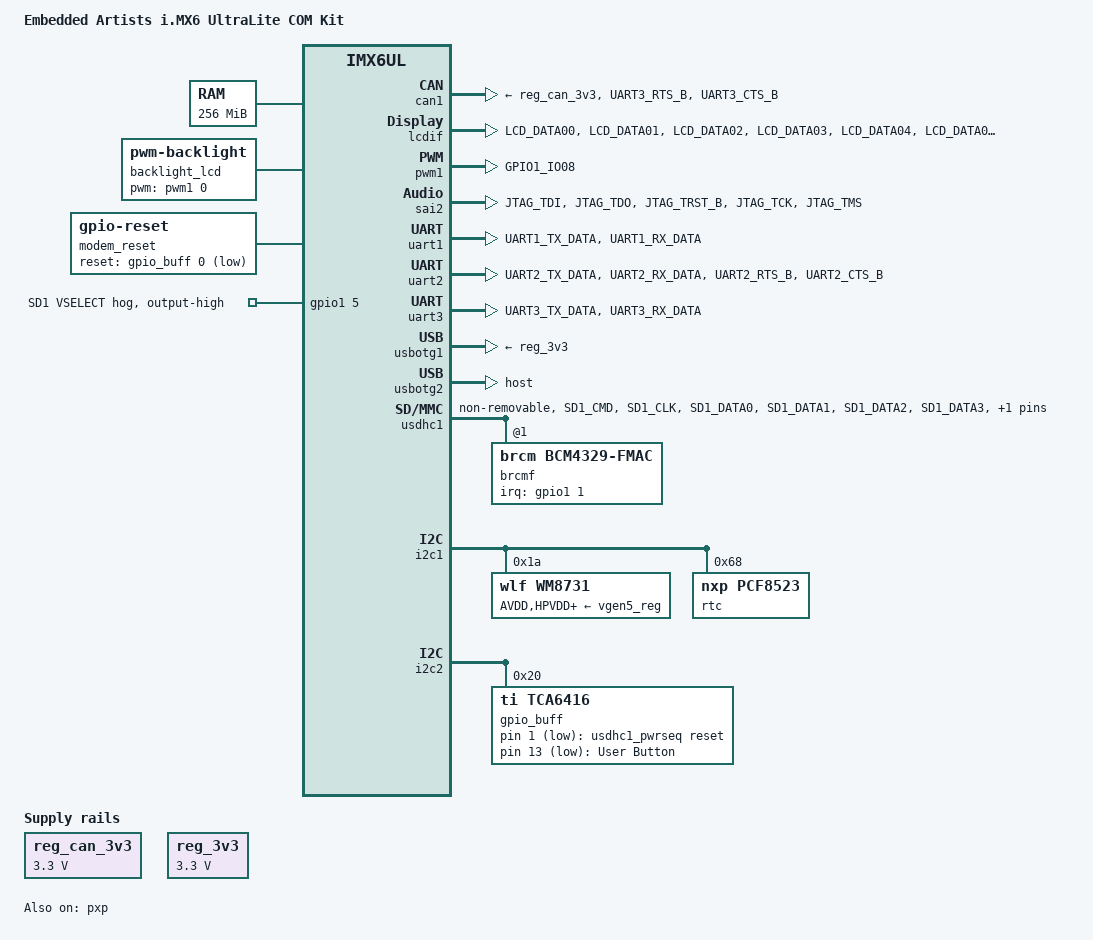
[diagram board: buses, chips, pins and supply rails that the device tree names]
/*
 * Copyright (C) 2015 Freescale Semiconductor, Inc.
 *
 * This program is free software; you can redistribute it and/or modify
 * it under the terms of the GNU General Public License version 2 as
 * published by the Free Software Foundation.
 */
 
/dts-v1/;

#include "imx6ulea-com.dtsi"

/ {
	model = "Embedded Artists i.MX6 UltraLite COM Kit";
	compatible = "fsl,imx6ulea-com", "fsl,imx6ul";

	/* Aliases to allow u-boot to modify the device tree */
	aliases {
		fb_rgb = &lcdif;
		t_rgb = &t_lcd;
		bl_rgb = &backlight_lcd;
		rgb = &display0;
		ts_con_rgb = &i2c1;
	};

	chosen {
		stdout-path = &uart1;
	};

	memory {
		reg = <0x80000000 0x10000000>;
	};

	reserved-memory {
		#address-cells = <1>;
		#size-cells = <1>;
		ranges;

		linux,cma {
			compatible = "shared-dma-pool";
			reusable;
			size = <0xa000000>;
			linux,cma-default;
		};
	};

	backlight_lcd: backlight {
		compatible = "pwm-backlight";
		pwms = <&pwm1 0 5000000>;
		brightness-levels = <0 4 8 16 32 64 128 255>;
		default-brightness-level = <6>;
		status = "okay";
	};

	pxp_v4l2 {
		compatible = "fsl,imx6ul-pxp-v4l2", "fsl,imx6sx-pxp-v4l2", "fsl,imx6sl-pxp-v4l2";
		status = "okay";
	};

	modem_reset: modem-reset {		/* Murata -- BT_REG_ON */
		compatible = "gpio-reset";
		reset-gpios = <&gpio_buff 0 GPIO_ACTIVE_LOW>;
		reset-delay-us = <1000>;
		initially-in-reset; 
		#reset-cells = <0>;
	};

	sii902x_reset: sii902x-reset {
		compatible = "gpio-reset";
		reset-gpios = <&gpio4 16 GPIO_ACTIVE_LOW>;
		reset-delay-us = <10000>;
		initially-in-reset;
		#reset-cells = <0>;
		status = "disabled";
	};

	regulators {
		compatible = "simple-bus";
		#address-cells = <1>;
		#size-cells = <0>;

		reg_can_3v3: regulator@0 {
			compatible = "regulator-fixed";
			reg = <0>;
			regulator-name = "can-3v3";
			regulator-min-microvolt = <3300000>;
			regulator-max-microvolt = <3300000>;
		};

		reg_3v3: regulator@2 {
			compatible = "regulator-fixed";
			reg = <2>;
			regulator-name = "reg-3v3";
			regulator-min-microvolt = <3300000>;
			regulator-max-microvolt = <3300000>;
		};

		usdhc1_pwrseq: usdhc1_pwrseq {			/* add construct for "fmac" to control WL_REG_ON signal */
			compatible = "mmc-pwrseq-simple";
			reset-gpios = <&gpio_buff 1 GPIO_ACTIVE_LOW>; /* WL REG ON */
			post-power-on-delay-ms = <120>;
			status = "okay";
		};
	};

	sound-wm8731 {
		compatible = "simple-audio-card";
		simple-audio-card,name = "wm8731-audio";
		simple-audio-card,format = "i2s";
		simple-audio-card,frame-master = <&cpudai>;
		simple-audio-card,bitclock-master = <&cpudai>;
		simple-audio-card,widgets =
			"Line", "Left Line Out Jack",
			"Line", "Right Line Out Jack";
		simple-audio-card,routing =
			"Left Line Out Jack", "LOUT",
			"Right Line Out Jack", "ROUT";

		cpudai: simple-audio-card,cpu {
			sound-dai = <&sai2>;
		};

		dailink_master: simple-audio-card,codec {
			sound-dai = <&wm8731>;
			clocks = <&clks IMX6UL_CLK_SAI2>;
		};
	};


	gpio-keys {
		compatible = "gpio-keys";

		user_btn {
			label = "User Button";
			gpios = <&gpio_buff 13 GPIO_ACTIVE_LOW>;
			linux,code = <103>; /* 103 = numpad 7 */
		};
	};
};

&clks {
	assigned-clocks = <&clks IMX6UL_CLK_PLL4_AUDIO_DIV>;
	assigned-clock-rates = <860160000>;
};

&can1 {
	pinctrl-names = "default";
	pinctrl-0 = <&pinctrl_flexcan1>;
	xceiver-supply = <&reg_can_3v3>;
	status = "okay";
};

/* FlexCAN2 shares pins with UART2 (BT) so it is disabled */
&can2 {
	pinctrl-names = "default";
	pinctrl-0 = <&pinctrl_flexcan2>;
	xceiver-supply = <&reg_can_3v3>;
	status = "disabled";
};

&lcdif {
	pinctrl-names = "default";
	pinctrl-0 = <&pinctrl_lcdif_dat
		     &pinctrl_lcdif_ctrl>;
	display = <&display0>;
	status = "okay";

	display0: display {
		bits-per-pixel = <32>;
		bus-width = <24>;

		/* EA 7" display */
		display-timings {
			native-mode = <&t_lcd>;
			t_lcd: t_lcd_default {
				/* values may be changed in bootscript */
				clock-frequency = <33336667>;
				hactive = <1280>;
				vactive = <720>;
				hback-porch = <89>;
				hfront-porch = <164>;
				vback-porch = <75>;
				vfront-porch = <75>;
				hsync-len = <10>;
				vsync-len = <10>;
				hsync-active = <0>;
				vsync-active = <0>;
				de-active = <1>;
				pixelclk-active = <0>;
			};
		};
	};
};

&pwm1 {
	#pwm-cells = <2>;
	pinctrl-names = "default";
	pinctrl-0 = <&pinctrl_pwm1>;
	status = "okay";
};

&pxp {
	status = "okay";
};

&sai2 {
	#sound-dai-cells = <0>;
	pinctrl-names = "default";
	pinctrl-0 = <&pinctrl_sai2>;

	assigned-clocks = <&clks IMX6UL_CLK_SAI2_SEL>,
			  <&clks IMX6UL_CLK_SAI2>;
	assigned-clock-parents = <&clks IMX6UL_CLK_PLL4_AUDIO_DIV>;
	assigned-clock-rates = <0>, <12288000>;
	fsl,sai-mclk-direction-output;
	status = "okay";
};

&uart1 {
	pinctrl-names = "default";
	pinctrl-0 = <&pinctrl_uart1>;
	status = "okay";
};

/* Bluetooth UART. Shares pins with FlexCAN2 which is disabled */
&uart2 {
	pinctrl-names = "default";
	pinctrl-0 = <&pinctrl_uart2>;
	fsl,uart-has-rtscts;
	resets = <&modem_reset>;
	status = "okay";
};

&uart3 {
	pinctrl-names = "default";
	pinctrl-0 = <&pinctrl_uart3>;
	status = "okay";
};

&usbotg1 {
	vbus-supply = <&reg_3v3>;
	status = "okay";
};

&usbotg2 {
	dr_mode = "host";
	disable-over-current;
	status = "okay";
};

&usdhc1 {
	#address-cells = <1>;
	#size-cells = <0>;
	pinctrl-names = "default", "state_100mhz", "state_200mhz";
	pinctrl-0 = <&pinctrl_usdhc1>;
	pinctrl-1 = <&pinctrl_usdhc1_100mhz>;
	pinctrl-2 = <&pinctrl_usdhc1_200mhz>;
	keep-power-in-suspend;
	non-removable;
	pm-ignore-notify;
	cap-power-off; 
	mmc-pwrseq = <&usdhc1_pwrseq>;
	status = "okay";
	max-frequency = <150000000>; /* slow down UHS SDR104 clock */
	brcmf: bcrmf@1 {
		reg = <1>;
		compatible = "brcm,bcm4329-fmac";
		interrupt-parent = <&gpio1>;
		interrupts = <1 IRQ_TYPE_LEVEL_LOW>;  /* WL_HOST_WAKE = GPIO1_IO01 active low for M.2. */
		interrupt-names = "host-wake";
	};
};

&gpio1 {
	sd1_vselect-gpio {
		gpio-hog;
		gpios = <5 GPIO_ACTIVE_HIGH>;
		output-high;
		line-name = "SD1 VSELECT";
	};
};

&i2c1 {

	wm8731: wm8731@1a {
		#sound-dai-cells = <0>;
		compatible = "wlf,wm8731";
		reg = <0x1a>;
		clocks = <&clks IMX6UL_CLK_SAI2>;

		AVDD-supply = <&vgen5_reg>;
		HPVDD-supply = <&vgen5_reg>;
		DCVDD-supply = <&vgen5_reg>;
		DBVDD-supply = <&vgen5_reg>;

	};

	/* AR1021 touch controller through RGB display interface connector on Carrier Board */
	ar1021_rgb@4d {
		compatible = "microchip,ar1021-i2c";
		reg = <0x4d>;
		pinctrl-names = "default";
		pinctrl-0 = <&pinctrl_rgb_connector>;
		interrupt-parent = <&gpio4>;
		interrupts = <24 IRQ_TYPE_EDGE_FALLING>;
		ar1021,swap_xy;
		ar1021,invert_x;
		#ar1021,invert_y;
		status = "disabled";
	};

	/* eGalax touch controller through RGB display interface connector on Carrier Board */
	egalax_ts_rgb@4 {
		compatible = "eeti,egalax_ts";
		reg = <0x4>;
		pinctrl-names = "default";
		pinctrl-0 = <&pinctrl_rgb_connector>;
		interrupt-parent = <&gpio4>;
		interrupts = <24 IRQ_TYPE_EDGE_FALLING>;
		wakeup-gpios = <&gpio4 24 GPIO_ACTIVE_HIGH>;
		status = "disabled";
	};

	/* FocalTech touch controller through RGB display interface connector on Carrier Board */
	edt-ft5x06_rgb@38 {
		compatible = "edt,edt-ft5x06";
		reg = <0x38>;
		pinctrl-names = "default";
		pinctrl-0 = <&pinctrl_rgb_connector>;
		interrupt-parent = <&gpio4>;
		interrupts = <24 IRQ_TYPE_EDGE_FALLING>;
		status = "disabled";
	};

	/* Ilitek touch controller through RGB display interface connector on Carrier Board */
	ilitek_aim_rgb@41 {
		compatible = "ilitek,ilitek_aim";
		reg = <0x41>;
		pinctrl-names = "default";
		pinctrl-0 = <&pinctrl_rgb_connector>;
		interrupt-parent = <&gpio4>;
		interrupts = <24 IRQ_TYPE_EDGE_FALLING>;
		status = "disabled";
	};

        /* Atmel MXT1664 touch controller through RGB display interface connector on Carrier Board */
        mxt1664_ts_rgb@4b {
                compatible = "atmel,mxt1664_ts";
                reg = <0x4b>;
                pinctrl-names = "default";
                pinctrl-0 = <&pinctrl_rgb_connector>;
                interrupt-parent = <&gpio4>;
                interrupts = <24 IRQ_TYPE_EDGE_FALLING>;
                status = "disabled";
        };

	/* Sitronix touch controller through RGB display interface connector on Carrier Board */
	sitronix_rgb@55 {
		compatible = "sitronix,sitronix_i2c";
		reg = <0x55>;
		pinctrl-names = "default";
		pinctrl-0 = <&pinctrl_rgb_connector>;
		interrupt-parent = <&gpio4>;
		interrupts = <24 IRQ_TYPE_EDGE_FALLING>;
		status = "disabled";
	};
	rtc: pcf8523@68 {
		compatible = "nxp,pcf8523";
		reg = <0x68>;
	};
	sii902x: sii902x@39 {
		compatible = "SiI,sii902x";
		pinctrl-names = "default";
		pinctrl-0 = <&pinctrl_rgb_connector>;
		interrupt-parent = <&gpio4>;
		interrupts = <24 IRQ_TYPE_EDGE_FALLING>;
		resets = <&sii902x_reset>;
		mode_str ="800x600M@60";
		bits-per-pixel = <24>;
		reg = <0x39>;
		status = "disbled";
	};
};

&i2c2 {
	gpio_buff: pca6416@20 {
		compatible = "ti,tca6416";
		reg = <0x20>;
		gpio-controller;
		#gpio-cells = <2>;
		gpio-line-names = "BT_REG_ON", "WL_REG_ON", "VBAT_VSEL",
			"BT_DEV_WAKE", "", "AUD_CODEC_MUX_CTRL1",
			"VDDIO_VSEL", "PCIE_PERST_L", "",
			"DIR_WL_DEV_WAKE", "PCIE_CLK_MUX_CTRL", "AUD_CODEC_MUX_CTRL2",
			"DIR_BT_AUD_WS_CLK", "USER_BTN", "USER_LED1", "USER_LED2";

		hog_VBAT_VSEL {
			gpio-hog;
			gpios = <2 0>;
			output-low; /* LOW = 3.3V, HIGH = 3.6V */
		};
		hog_AUD_CODEC_MUX_CTRL1 {
			gpio-hog;
			gpios = <5 0>;
			output-low;
		};
		hog_VDDIO_VSEL {
			gpio-hog;
			gpios = <6 0>;
			output-low; /* LOW = 1.8V, HIGH = 3.3V */
		};
		hog_DIR_WL_DEV_WAKE {
			gpio-hog;
			gpios = <9 0>;
			output-low;
		};
		hog_AUD_CODEC_MUX_CTRL2 {
			gpio-hog;
			gpios = <11 0>;
			output-low;
		};
	};
};

&iomuxc {

	imx6ulea-com-kit {
		pinctrl-0 = <&pinctrl_exp_conn>;

		pinctrl_flexcan1: flexcan1grp{
			fsl,pins = <
				MX6UL_PAD_UART3_RTS_B__FLEXCAN1_RX	0x1b020
				MX6UL_PAD_UART3_CTS_B__FLEXCAN1_TX	0x1b020
			>;
		};

		pinctrl_flexcan2: flexcan2grp{
			fsl,pins = <
				MX6UL_PAD_UART2_RTS_B__FLEXCAN2_RX	0x1b020
				MX6UL_PAD_UART2_CTS_B__FLEXCAN2_TX	0x1b020
			>;
		};

		pinctrl_lcdif_dat: lcdifdatgrp {
			fsl,pins = <
				MX6UL_PAD_LCD_DATA00__LCDIF_DATA00  0x79
				MX6UL_PAD_LCD_DATA01__LCDIF_DATA01  0x79
				MX6UL_PAD_LCD_DATA02__LCDIF_DATA02  0x79
				MX6UL_PAD_LCD_DATA03__LCDIF_DATA03  0x79
				MX6UL_PAD_LCD_DATA04__LCDIF_DATA04  0x79
				MX6UL_PAD_LCD_DATA05__LCDIF_DATA05  0x79
				MX6UL_PAD_LCD_DATA06__LCDIF_DATA06  0x79
				MX6UL_PAD_LCD_DATA07__LCDIF_DATA07  0x79
				MX6UL_PAD_LCD_DATA08__LCDIF_DATA08  0x79
				MX6UL_PAD_LCD_DATA09__LCDIF_DATA09  0x79
				MX6UL_PAD_LCD_DATA10__LCDIF_DATA10  0x79
				MX6UL_PAD_LCD_DATA11__LCDIF_DATA11  0x79
				MX6UL_PAD_LCD_DATA12__LCDIF_DATA12  0x79
				MX6UL_PAD_LCD_DATA13__LCDIF_DATA13  0x79
				MX6UL_PAD_LCD_DATA14__LCDIF_DATA14  0x79
				MX6UL_PAD_LCD_DATA15__LCDIF_DATA15  0x79
				MX6UL_PAD_LCD_DATA16__LCDIF_DATA16  0x79
				MX6UL_PAD_LCD_DATA17__LCDIF_DATA17  0x79
				MX6UL_PAD_LCD_DATA18__LCDIF_DATA18  0x79
				MX6UL_PAD_LCD_DATA19__LCDIF_DATA19  0x79
				MX6UL_PAD_LCD_DATA20__LCDIF_DATA20  0x79
				MX6UL_PAD_LCD_DATA21__LCDIF_DATA21  0x79
				MX6UL_PAD_LCD_DATA22__LCDIF_DATA22  0x79
				MX6UL_PAD_LCD_DATA23__LCDIF_DATA23  0x79
			>;
		};

		pinctrl_lcdif_ctrl: lcdifctrlgrp {
			fsl,pins = <
				MX6UL_PAD_LCD_CLK__LCDIF_CLK	    0x79
				MX6UL_PAD_LCD_ENABLE__LCDIF_ENABLE  0x79
				MX6UL_PAD_LCD_HSYNC__LCDIF_HSYNC    0x79
				MX6UL_PAD_LCD_VSYNC__LCDIF_VSYNC    0x79
				/* Display power enable */
				MX6UL_PAD_GPIO1_IO02__GPIO1_IO02    0x79
			>;
		};

		pinctrl_pwm1: pwm1grp {
			fsl,pins = <
				MX6UL_PAD_GPIO1_IO08__PWM1_OUT   0x110b0
			>;
		};


		pinctrl_uart1: uart1grp {
			fsl,pins = <
				MX6UL_PAD_UART1_TX_DATA__UART1_DCE_TX 0x1f0b1
				MX6UL_PAD_UART1_RX_DATA__UART1_DCE_RX 0x1f0b1
			>;
		};

		pinctrl_uart2: uart2grp {
			fsl,pins = <
				MX6UL_PAD_UART2_TX_DATA__UART2_DCE_TX	0x1f0b1
				MX6UL_PAD_UART2_RX_DATA__UART2_DCE_RX	0x1b0b1
				MX6UL_PAD_UART2_RTS_B__UART2_DCE_RTS	0x1b0b1
				MX6UL_PAD_UART2_CTS_B__UART2_DCE_CTS	0x1b0b1
			>;
		};

		pinctrl_uart3: uart3grp {
			fsl,pins = <
				MX6UL_PAD_UART3_TX_DATA__UART3_DCE_TX	0x1f0b1
				MX6UL_PAD_UART3_RX_DATA__UART3_DCE_RX	0x1f0b1
			>;
		};


		pinctrl_usdhc1: usdhc1grp {
			fsl,pins = <
				MX6UL_PAD_SD1_CMD__USDHC1_CMD     0x17059
				MX6UL_PAD_SD1_CLK__USDHC1_CLK     0x10071
				MX6UL_PAD_SD1_DATA0__USDHC1_DATA0 0x17059
				MX6UL_PAD_SD1_DATA1__USDHC1_DATA1 0x17059
				MX6UL_PAD_SD1_DATA2__USDHC1_DATA2 0x17059
				MX6UL_PAD_SD1_DATA3__USDHC1_DATA3 0x17059
				MX6UL_PAD_GPIO1_IO01__GPIO1_IO01 0x13041  /* WL_HOST_WAKE */
			>;
		};

		pinctrl_usdhc1_100mhz: usdhc1grp100mhz {
			fsl,pins = <
				MX6UL_PAD_SD1_CMD__USDHC1_CMD     0x170b9
				MX6UL_PAD_SD1_CLK__USDHC1_CLK     0x100b9
				MX6UL_PAD_SD1_DATA0__USDHC1_DATA0 0x170b9
				MX6UL_PAD_SD1_DATA1__USDHC1_DATA1 0x170b9
				MX6UL_PAD_SD1_DATA2__USDHC1_DATA2 0x170b9
				MX6UL_PAD_SD1_DATA3__USDHC1_DATA3 0x170b9
			>;
		};

		pinctrl_usdhc1_200mhz: usdhc1grp200mhz {
			fsl,pins = <
				MX6UL_PAD_SD1_CMD__USDHC1_CMD     0x170f9
				MX6UL_PAD_SD1_CLK__USDHC1_CLK     0x100f9
				MX6UL_PAD_SD1_DATA0__USDHC1_DATA0 0x170f9
				MX6UL_PAD_SD1_DATA1__USDHC1_DATA1 0x170f9
				MX6UL_PAD_SD1_DATA2__USDHC1_DATA2 0x170f9
				MX6UL_PAD_SD1_DATA3__USDHC1_DATA3 0x170f9
			>;
		};


		pinctrl_sai2: sai2grp {
			fsl,pins = <
				MX6UL_PAD_JTAG_TDI__SAI2_TX_BCLK	0x17088
				MX6UL_PAD_JTAG_TDO__SAI2_TX_SYNC	0x17088
				MX6UL_PAD_JTAG_TRST_B__SAI2_TX_DATA	0x11088
				MX6UL_PAD_JTAG_TCK__SAI2_RX_DATA	0x11088
				MX6UL_PAD_JTAG_TMS__SAI2_MCLK		0x17088
			>;
		};

		pinctrl_rgb_connector: rgb_connector_grp {
			fsl,pins = <
				MX6UL_PAD_CSI_DATA03__GPIO4_IO24       0x1b0b0
				MX6UL_PAD_NAND_DQS__GPIO4_IO16         0x1b0b0
			>;
		};

		/* Expansion Board */
		pinctrl_exp_conn: expconngrp {
			fsl,pins = <
				/* GPIO_H Not Connected */
				/* GPIO_J Not Connected */
				/* GPIO_K Not Connected */
				MX6UL_PAD_NAND_WP_B__GPIO4_IO11		0x130b1 /* GPIO_P */
				/* GPIO_Q Not Connected */
				/* GPIO_R Used by BOOT_MODE0 */
				/* GPIO_S Used by BOOT_MODE1 */
				/*MX6UL_PAD_ENET2_TX_DATA0__GPIO2_IO11	0x130b1    GPIO_T shared with ENET2 */
				/*MX6UL_PAD_ENET2_TX_DATA1__GPIO2_IO12	0x130b1    GPIO_U shared with ENET2 */
				/*MX6UL_PAD_ENET2_TX_EN__GPIO2_IO13	0x130b1    GPIO_V shared with ENET2 */
				/*MX6UL_PAD_ENET2_TX_CLK__GPIO2_IO14	0x130b1    GPIO_W shared with ENET2 */
				/*MX6UL_PAD_ENET2_RX_DATA0__GPIO2_IO08	0x130b1    GPIO_X shared with ENET2 */
				/*MX6UL_PAD_ENET2_RX_DATA1__GPIO2_IO09	0x130b1    GPIO_Y shared with ENET2 */
				/*MX6UL_PAD_ENET2_RX_ER__GPIO2_IO15	0x130b1    GPIO_Z shared with ENET2 */
				/*MX6UL_PAD_UART5_TX_DATA__ENET2_CRS	0x130b1    GPIO_AA shared with I2C2 */
				/*MX6UL_PAD_GPIO1_IO06__GPIO1_IO06	0x130b1    GPIO_AB shared with ENET */
				/*MX6UL_PAD_GPIO1_IO07__GPIO1_IO07	0x130b1    GPIO_AC shared with ENET */
				/*MX6UL_PAD_ENET1_RX_DATA0__GPIO2_IO00	0x130b1    GPIO_AD shared with ENET1 */
				/*MX6UL_PAD_ENET1_RX_DATA1__GPIO2_IO00	0x130b1    GPIO_AE shared with ENET1 */
				/*MX6UL_PAD_UART2_CTS_B__GPIO1_IO22	0x130b1    GPIO_AF shared with FlexCAN2 */
				/*MX6UL_PAD_ENET1_RX_ER__GPIO2_IO07	0x130b1    GPIO_AG shared with ENET1 */
				/*MX6UL_PAD_ENET1_TX_DATA0__GPIO2_IO03	0x130b1    GPIO_AH shared with ENET1 */
				/*MX6UL_PAD_ENET1_TX_DATA1__GPIO2_IO04	0x130b1    GPIO_AJ shared with ENET1 */
				/*MX6UL_PAD_ENET1_TX_EN__GPIO2_IO05	0x130b1    GPIO_AK shared with ENET1 */
				/*MX6UL_PAD_ENET1_TX_CLK__GPIO2_IO06	0x130b1    GPIO_AL shared with ENET1 */
				/* GPIO_AP Used by SNVS_TAMPER5 */
				/* GPIO_AQ Used by SNVS_TAMPER6 */
				/* GPIO_AR Used by SNVS_TAMPER7 */
				/* GPIO_AS Used by SNVS_TAMPER8 */
				/* GPIO_AT Used by SNVS_TAMPER9 */
				/* GPIO_AU Not Connected */
				/* GPIO_AV Not Connected */
			>;
		};
	};
};
